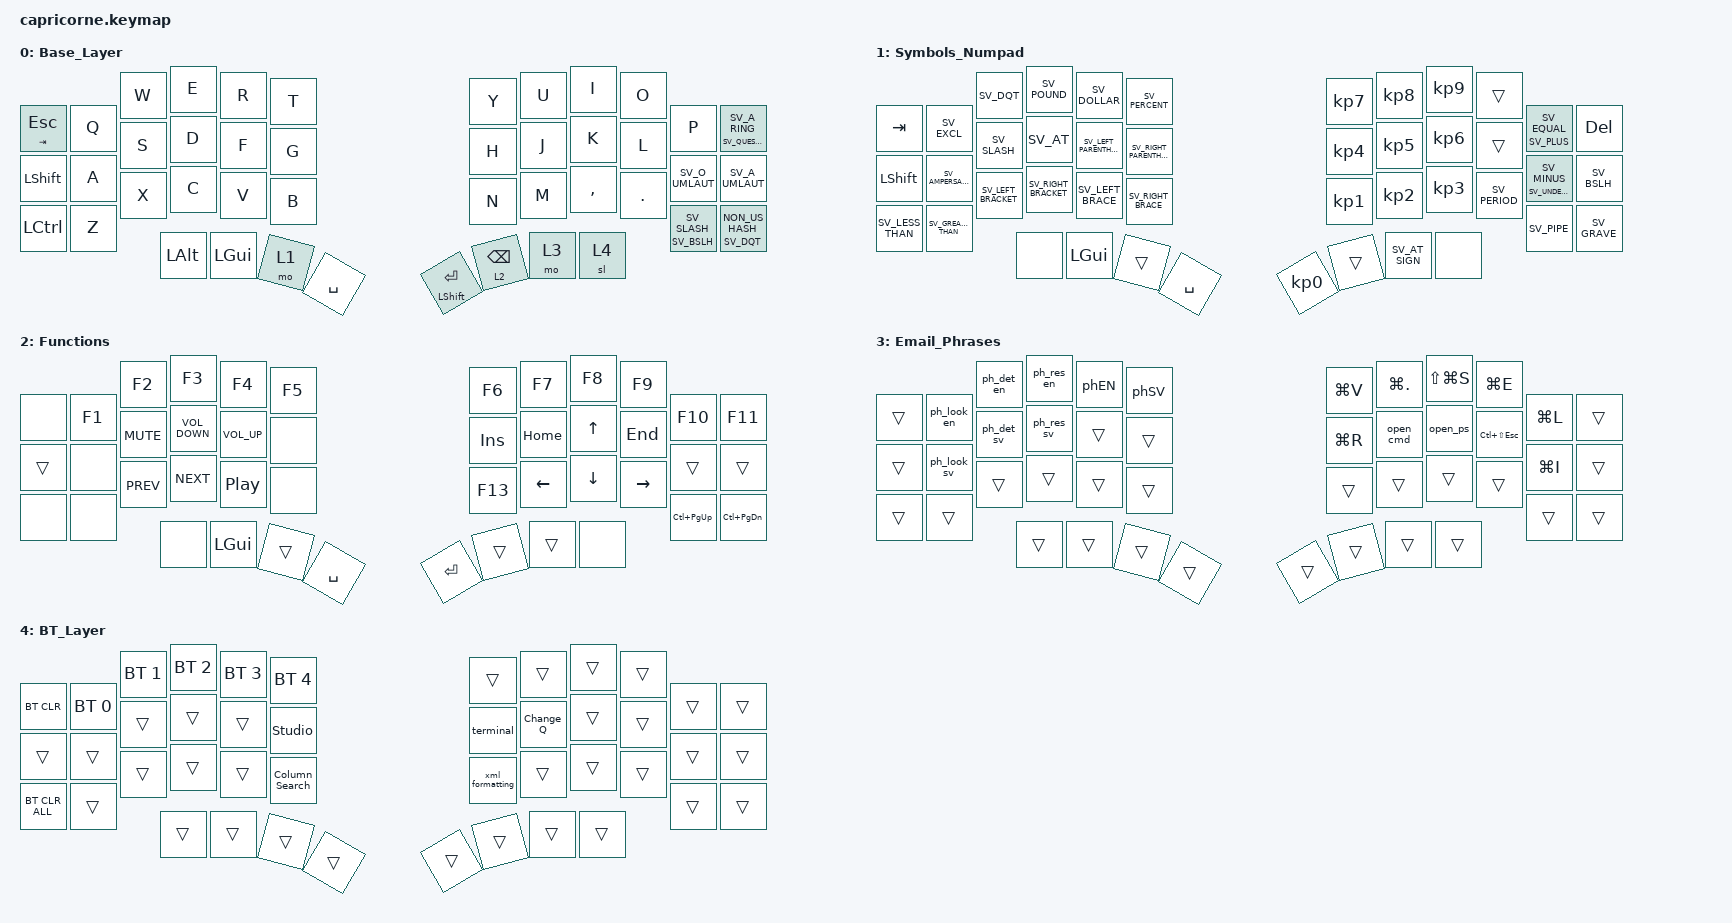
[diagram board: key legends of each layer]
/*
 * Copyright (c) 2020 The ZMK Contributors
 *
 * SPDX-License-Identifier: MIT
 */

#include "keys_sv.h"
#include <behaviors.dtsi>
#include <dt-bindings/zmk/keys.h>
#include <dt-bindings/zmk/bt.h>
#include <dt-bindings/zmk/outputs.h>

/ {
    behaviors {
        Layer_Hold_Tap: Layer_Hold_Tap {
            compatible = "zmk,behavior-hold-tap";
            label = "LAYER_HOLD_TAP";
            bindings = <&mo>, <&kp>;

            #binding-cells = <2>;
            tapping-term-ms = <150>;
            flavor = "balanced";
        };

        Hold_Tap_KP: Hold_Tap_KP {
            compatible = "zmk,behavior-hold-tap";
            label = "HOLD_TAP_KP";
            bindings = <&kp>, <&kp>;

            #binding-cells = <2>;
            tapping-term-ms = <150>;
            flavor = "balanced";
        };
    };

    combos {
        compatible = "zmk,combos";

        Layer2 {
            bindings = <&mo 2>;
            key-positions = <37 38>;
        };
    };

    macros {
        Change_Q: Change_Q {
            compatible = "zmk,behavior-macro";
            #binding-cells = <0>;
            bindings = <&kp LA(SV_E)>;
            label = "CHANGE_Q";
        };

        terminal: terminal {
            compatible = "zmk,behavior-macro";
            #binding-cells = <0>;
            bindings = <&kp LA(W)>;
            label = "TERMINAL";
        };

        Column_Search: Column_Search {
            compatible = "zmk,behavior-macro";
            #binding-cells = <0>;
            bindings = <&kp LSHIFT &kp LEFT_ALT &kp SV_D>;
            label = "COLUMN_SEARCH";
        };

        xml_formatting: xml_formatting {
            compatible = "zmk,behavior-macro";
            #binding-cells = <0>;
            bindings = <&kp LCTRL &kp LEFT_SHIFT &kp LEFT_ALT &kp B>;
            label = "XML_FORMATTING";
        };

        // "Vänligen återkom med resultat."
        phSV: phSV {
            compatible = "zmk,behavior-macro";
            #binding-cells = <0>;
            wait-ms = <2>;
            tap-ms = <2>;
            bindings = <&kp LS(V) &kp SV_A_UMLAUT &kp N &kp L &kp I &kp G &kp E &kp N
                        &kp SPACE
                        &kp SV_A_RING &kp T &kp E &kp R &kp K &kp O &kp M
                        &kp SPACE
                        &kp M &kp E &kp D
                        &kp SPACE
                        &kp R &kp E &kp S &kp U &kp L &kp T &kp A &kp T &kp SV_PERIOD>;
            label = "PH_SV";
        };

        // "Please get back to me with the results."
        phEN: phEN {
            compatible = "zmk,behavior-macro";
            #binding-cells = <0>;
            wait-ms = <2>;
            tap-ms = <2>;
            bindings = <&kp LS(P) &kp L &kp E &kp A &kp S &kp E
                        &kp SPACE
                        &kp G &kp E &kp T
                        &kp SPACE
                        &kp B &kp A &kp C &kp K
                        &kp SPACE
                        &kp T &kp O
                        &kp SPACE
                        &kp M &kp E
                        &kp SPACE
                        &kp W &kp I &kp T &kp H
                        &kp SPACE
                        &kp T &kp H &kp E
                        &kp SPACE
                        &kp R &kp E &kp S &kp U &kp L &kp T &kp S &kp SV_PERIOD>;
            label = "PH_EN";
                };

        open_cmd: open_cmd {
            compatible = "zmk,behavior-macro";
            #binding-cells = <0>;
            wait-ms = <5>;
            tap-ms = <5>;
            bindings
                = <&macro_tap &kp LG(R)>
                , <&macro_wait_time 700>
                , <&macro_tap &kp C &kp M &kp D &kp ENTER>;
            label = "OPEN_CMD";
        };

        open_ps: open_ps {
            compatible = "zmk,behavior-macro";
            #binding-cells = <0>;
            wait-ms = <5>;
            tap-ms = <5>;
            bindings
                = <&macro_tap &kp LG(R)>
                , <&macro_wait_time 700>
                , <&macro_tap &kp P &kp O &kp W &kp E &kp R &kp S &kp H &kp E &kp L &kp L &kp ENTER>;
            label = "OPEN_PS";
        };

        // "Looking into this, I will get back to you shortly."
        ph_look_en: ph_look_en {
            compatible = "zmk,behavior-macro";
            #binding-cells = <0>;
            wait-ms = <2>;
            tap-ms = <2>;
            bindings = <&kp LS(L) &kp O &kp O &kp K &kp I &kp N &kp G
                        &kp SPACE &kp I &kp N &kp T &kp O
                        &kp SPACE &kp T &kp H &kp I &kp S &kp COMMA
                        &kp SPACE &kp I
                        &kp SPACE &kp W &kp I &kp L &kp L
                        &kp SPACE &kp G &kp E &kp T
                        &kp SPACE &kp B &kp A &kp C &kp K
                        &kp SPACE &kp T &kp O
                        &kp SPACE &kp Y &kp O &kp U
                        &kp SPACE &kp S &kp H &kp O &kp R &kp T &kp L &kp Y &kp SV_PERIOD>;
            label = "PH_LOOK_EN";
        };

        // "Could you please provide more details?"
        ph_det_en: ph_det_en {
            compatible = "zmk,behavior-macro";
            #binding-cells = <0>;
            wait-ms = <2>;
            tap-ms = <2>;
            bindings = <&kp LS(C) &kp O &kp U &kp L &kp D
                        &kp SPACE &kp Y &kp O &kp U
                        &kp SPACE &kp P &kp L &kp E &kp A &kp S &kp E
                        &kp SPACE &kp P &kp R &kp O &kp V &kp I &kp D &kp E
                        &kp SPACE &kp M &kp O &kp R &kp E
                        &kp SPACE &kp D &kp E &kp T &kp A &kp I &kp L &kp S &kp SV_QUESTION>;
            label = "PH_DET_EN";
        };

        // "The issue has been resolved. Please let us know if anything comes up."
        ph_res_en: ph_res_en {
            compatible = "zmk,behavior-macro";
            #binding-cells = <0>;
            wait-ms = <2>;
            tap-ms = <2>;
            bindings = <&kp LS(T) &kp H &kp E
                        &kp SPACE &kp I &kp S &kp S &kp U &kp E
                        &kp SPACE &kp H &kp A &kp S
                        &kp SPACE &kp B &kp E &kp E &kp N
                        &kp SPACE &kp R &kp E &kp S &kp O &kp L &kp V &kp E &kp D &kp SV_PERIOD
                        &kp SPACE &kp LS(P) &kp L &kp E &kp A &kp S &kp E
                        &kp SPACE &kp L &kp E &kp T
                        &kp SPACE &kp U &kp S
                        &kp SPACE &kp K &kp N &kp O &kp W
                        &kp SPACE &kp I &kp F
                        &kp SPACE &kp A &kp N &kp Y &kp T &kp H &kp I &kp N &kp G
                        &kp SPACE &kp C &kp O &kp M &kp E &kp S
                        &kp SPACE &kp U &kp P &kp SV_PERIOD>;
            label = "PH_RES_EN";
        };

        // "Tittar på detta och återkommer till dig inom kort."
        ph_look_sv: ph_look_sv {
            compatible = "zmk,behavior-macro";
            #binding-cells = <0>;
            wait-ms = <2>;
            tap-ms = <2>;
            bindings = <&kp LS(T) &kp I &kp T &kp T &kp A &kp R
                        &kp SPACE &kp P &kp SV_A_RING
                        &kp SPACE &kp D &kp E &kp T &kp T &kp A
                        &kp SPACE &kp O &kp C &kp H
                        &kp SPACE &kp SV_A_RING &kp T &kp E &kp R &kp K &kp O &kp M &kp M &kp E &kp R
                        &kp SPACE &kp T &kp I &kp L &kp L
                        &kp SPACE &kp D &kp I &kp G
                        &kp SPACE &kp I &kp N &kp O &kp M
                        &kp SPACE &kp K &kp O &kp R &kp T &kp SV_PERIOD>;
            label = "PH_LOOK_SV";
        };

        // "Kan du ge mer detaljer om problemet?"
        ph_det_sv: ph_det_sv {
            compatible = "zmk,behavior-macro";
            #binding-cells = <0>;
            wait-ms = <2>;
            tap-ms = <2>;
            bindings = <&kp LS(K) &kp A &kp N
                        &kp SPACE &kp D &kp U
                        &kp SPACE &kp G &kp E
                        &kp SPACE &kp M &kp E &kp R
                        &kp SPACE &kp D &kp E &kp T &kp A &kp L &kp J &kp E &kp R
                        &kp SPACE &kp O &kp M
                        &kp SPACE &kp P &kp R &kp O &kp B &kp L &kp E &kp M &kp E &kp T &kp SV_QUESTION>;
            label = "PH_DET_SV";
        };

        // "Ärendet är nu löst. Hör av dig om något annat uppstår."
        ph_res_sv: ph_res_sv {
            compatible = "zmk,behavior-macro";
            #binding-cells = <0>;
            wait-ms = <2>;
            tap-ms = <2>;
            bindings = <&kp LS(SV_A_UMLAUT) &kp R &kp E &kp N &kp D &kp E &kp T
                        &kp SPACE &kp SV_A_UMLAUT &kp R
                        &kp SPACE &kp N &kp U
                        &kp SPACE &kp L &kp SV_O_UMLAUT &kp S &kp T &kp SV_PERIOD
                        &kp SPACE &kp LS(H) &kp SV_O_UMLAUT &kp R
                        &kp SPACE &kp A &kp V
                        &kp SPACE &kp D &kp I &kp G
                        &kp SPACE &kp O &kp M
                        &kp SPACE &kp N &kp SV_A_RING &kp G &kp O &kp T
                        &kp SPACE &kp A &kp N &kp N &kp A &kp T
                        &kp SPACE &kp U &kp P &kp P &kp S &kp T &kp SV_A_RING &kp R &kp SV_PERIOD>;
            label = "PH_RES_SV";
        };        
    };

    keymap {
        compatible = "zmk,keymap";

        Base_Layer {
            // -----------------------------------------------------------------------------------------
            // |  TAB |  Q  |  W  |  E  |  R  |  T  |   |  Y  |  U   |  I  |  O  |  P  | BSPC |
            // | CTRL |  A  |  S  |  D  |  F  |  G  |   |  H  |  J   |  K  |  L  |  ;  |  '   |
            // | SHFT |  Z  |  X  |  C  |  V  |  B  |   |  N  |  M   |  ,  |  .  | / \ | ' " |
            //                    | GUI | LWR | SPC |   | ENT | RSE  | ALT | PHR |
            //
            // / \  = tap for /  (SV_SLASH), hold for \  (SV_BSLH)
            // PHR (purple, right outer thumb) = sticky layer 4: tap it, then tap a phrase key.

            bindings = <
&Hold_Tap_KP TAB ESC  &kp Q  &kp W         &kp E     &kp R  &kp T        &kp Y                     &kp U                        &kp I      &kp O    &kp P                          &Hold_Tap_KP SV_QUESTION SV_A_RING
&kp LEFT_SHIFT        &kp A  &kp S         &kp D     &kp F  &kp G        &kp H                     &kp J                        &kp K      &kp L    &kp SV_O_UMLAUT                &kp SV_A_UMLAUT
&kp LEFT_CONTROL      &kp Z  &kp X         &kp C     &kp V  &kp B        &kp N                     &kp M                        &kp COMMA  &kp DOT  &Hold_Tap_KP SV_BSLH SV_SLASH  &Hold_Tap_KP SV_DQT NON_US_HASH
                             &kp LEFT_ALT  &kp LGUI  &mo 1  &kp SPACE    &Hold_Tap_KP LSHFT ENTER  &Layer_Hold_Tap 2 BACKSPACE  &mo 3      &sl 4
            >;
        };

        Symbols_Numpad {
            // -----------------------------------------------------------------------------------------
            // |  TAB |  1  |  2  |  3  |  4  |  5  |   |  6  |  7  |  8  |  9  |  0  | BSPC |
            // | BTCLR| BT1 | BT2 | BT3 | BT4 | BT5 |   | LFT | DWN |  UP | RGT |     |      |
            // | SHFT |     |     |     |     |     |   |     |     |     |     |     |      |
            //                    | GUI |     | SPC |   | N0  |  @  | ALT |

            bindings = <
&kp TAB           &kp SV_EXCL          &kp SV_DQT           &kp SV_POUND          &kp SV_DOLLAR            &kp SV_PERCENT              &kp KP_N7  &kp KP_N8  &kp KP_N9  &trans         &Hold_Tap_KP SV_PLUS SV_EQUAL       &kp DELETE
&kp LEFT_SHIFT    &kp SV_AMPERSAND     &kp SV_SLASH         &kp SV_AT             &kp SV_LEFT_PARENTHESIS  &kp SV_RIGHT_PARENTHESIS    &kp KP_N4  &kp KP_N5  &kp KP_N6  &trans         &Hold_Tap_KP SV_UNDERSCORE SV_MINUS &kp SV_BSLH
&kp SV_LESS_THAN  &kp SV_GREATER_THAN  &kp SV_LEFT_BRACKET  &kp SV_RIGHT_BRACKET  &kp SV_LEFT_BRACE        &kp SV_RIGHT_BRACE          &kp KP_N1  &kp KP_N2  &kp KP_N3  &kp SV_PERIOD  &kp SV_PIPE                         &kp SV_GRAVE
                                       &none                &kp LGUI              &trans                   &kp SPACE                   &kp KP_N0  &trans  &kp SV_AT_SIGN     &none
            >;
        };

        Functions {
            // -----------------------------------------------------------------------------------------
            // |  TAB |  !  |  @  |  #  |  $  |  %  |   |  ^  |  &  |  *  |  (  |  )  | BSPC |
            // | CTRL |     |     |     |     |     |   |  -  |  =  |  [  |  ]  |  \  |  `   |
            // | SHFT |     |     |     |     |     |   |  _  |  +  |  {  |  }  | "|" |  ~   |
            //                    | GUI |     | SPC |   | ENT |     | ALT |

            bindings = <
&none   &kp F1  &kp F2      &kp F3             &kp F4            &kp F5       &kp F6   &kp F7          &kp F8    &kp F9     &kp F10          &kp F11
&trans  &none   &kp C_MUTE  &kp C_VOLUME_DOWN  &kp C_VOLUME_UP   &none        &kp INS  &kp HOME        &kp UP    &kp END    &trans           &trans
&none   &none   &kp C_PREV  &kp C_NEXT         &kp C_PLAY_PAUSE  &none        &kp F13  &kp LEFT_ARROW  &kp DOWN  &kp RIGHT  &kp LC(PAGE_UP)  &kp LC(PAGE_DOWN)
                &none       &kp LGUI           &trans            &kp SPACE    &kp RET  &trans          &trans    &none
            >;
        };

        Email_Phrases {
            // -----------------------------------------------------------------------------------------
            // |  TAB |  Q  |  W  |  E  |  R  |  T  |   |  Y  |  U  |  I  |  O  |  P  | BSPC |
            // | SHFT |  A  |  S  |  D  |  F  |  G  |   |  H  |  J  |  K  |  L  |  Ö  |  Ä   |
            // | CTRL |  Z  |  X  |  C  |  V  |  B  |   |  N  |  M  |  ,  |  .  |  /  | ESC  |
            //                    | GUI | EN  | SV  |   | ENT | RSE | ALT | PHR  |
            //
            // Left — phrases, same finger EN (top) / SV (home):
            // Q/A = looking into this   W/S = need more details   E/D = issue resolved
            //
            // Right — Windows shortcuts:
            // Y=Clipboard  U=Emoji  I=Snip  O=Explorer  P=Lock
            // H=Run        J=CMD    K=PS    L=TaskMgr   Ö=Settings

            bindings = <
&trans  &ph_look_en  &ph_det_en  &ph_res_en  &phEN   &phSV     &kp LG(V)  &kp LG(DOT)      &kp LS(LG(S))  &kp LG(E)        &kp LG(L)   &trans
&trans  &ph_look_sv  &ph_det_sv  &ph_res_sv  &trans  &trans    &kp LG(R)  &open_cmd         &open_ps       &kp LC(LS(ESC))  &kp LG(I)   &trans
&trans  &trans       &trans      &trans      &trans  &trans    &trans     &trans            &trans         &trans           &trans      &trans
                     &trans      &trans      &trans  &trans    &trans     &trans            &trans         &trans
            >;
        };


        BT_Layer {
            bindings = <
&bt BT_CLR      &bt BT_SEL 0  &bt BT_SEL 1  &bt BT_SEL 2  &bt BT_SEL 3  &bt BT_SEL 4      &trans           &trans    &trans  &trans  &trans  &trans
&trans          &trans        &trans        &trans        &trans        &studio_unlock    &terminal        &Change_Q  &trans  &trans  &trans  &trans
&bt BT_CLR_ALL  &trans        &trans        &trans        &trans        &Column_Search    &xml_formatting  &trans     &trans  &trans  &trans  &trans
                              &trans        &trans        &trans        &trans            &trans           &trans     &trans  &trans
            >;
        };
    };
};
